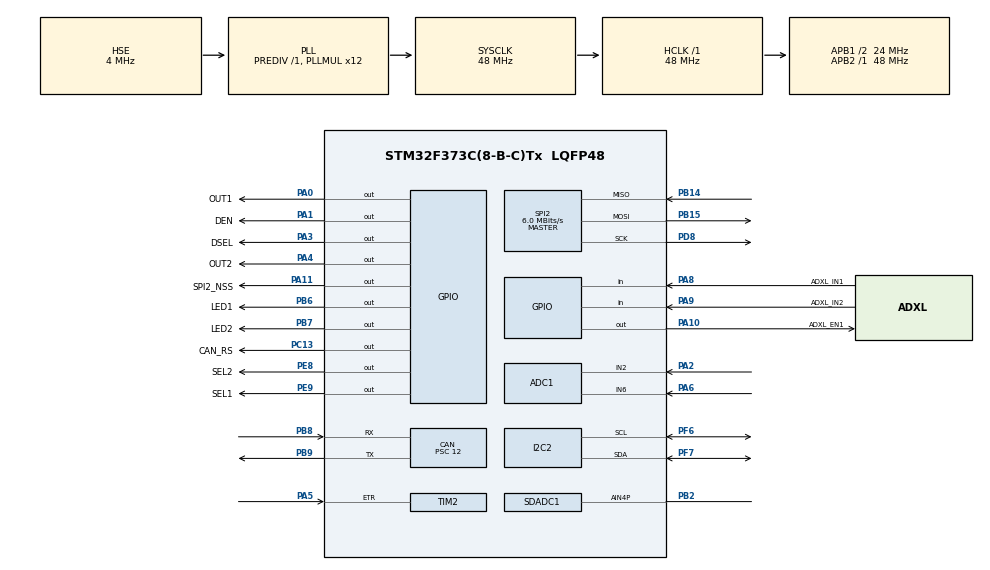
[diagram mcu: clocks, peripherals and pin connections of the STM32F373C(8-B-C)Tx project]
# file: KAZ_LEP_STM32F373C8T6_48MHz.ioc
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Mcu.Family=STM32F3
NVIC.SDADC1_IRQn=true\:0\:0\:false\:false\:true\:true\:true
PA6.Mode=IN6
RCC.CortexFreq_Value=48000000
RCC.SDADCPresc=RCC_SDADCSYSCLK_DIV8
SPI2.VirtualType=VM_MASTER
ADC1.ContinuousConvMode=ENABLE
NVIC.CAN_RX0_IRQn=true\:0\:0\:false\:true\:true\:1\:true\:true
PA0.GPIO_Label=OUT1
PB6.GPIO_Label=LED1
SDADC1.InjectedTrigger=SDADC_EXTERNAL_TRIGGER
PC13.GPIO_Label=CAN_RS
PA3.GPIO_Speed=GPIO_SPEED_FREQ_HIGH
PB15.Signal=SPI2_MOSI
RCC.SYSCLKSource=RCC_SYSCLKSOURCE_PLLCLK
ProjectManager.StackSize=0x400
SDADC1.ConfIndex-1\#ChannelRegularConversion=SDADC_CONF_INDEX_0
CAN.Prescaler=12
NVIC.ADC1_IRQn=true\:0\:0\:false\:false\:true\:true\:true
PF7.Signal=I2C2_SDA
RCC.HCLKFreq_Value=48000000
RCC.APB2TimFreq_Value=48000000
TIM3.Period=15
PB6.Signal=GPIO_Output
Dma.ADC1.0.Direction=DMA_PERIPH_TO_MEMORY
PD8.Signal=SPI2_SCK
Dma.ADC1.0.MemDataAlignment=DMA_MDATAALIGN_HALFWORD
RCC.AHBFreq_Value=48000000
SPI2.BaudRatePrescaler=SPI_BAUDRATEPRESCALER_4
ADC1.Channel-0\#ChannelRegularConversion=ADC_CHANNEL_2
RCC.HSE_VALUE=4000000
PB2.Signal=SDADC1_AIN4P
RCC.PLLMUL=RCC_PLL_MUL12
PE9.Signal=GPIO_Output
PA14.Mode=Serial_Wire
PB14.Mode=Full_Duplex_Master
TIM3.Prescaler=374
Dma.ADC1.0.PeriphInc=DMA_PINC_DISABLE
PA10.GPIO_Label=ADXL_EN1
SPI2.CalculateBaudRate=6.0 MBits/s
PB7.Signal=GPIO_Output
PA8.Signal=GPIO_Input
VP_SDADC1_CONF0.Mode=ConfigZero
CAN.CalculateTimeQuantum=500.0
ADC1.SamplingTime-0\#ChannelRegularConversion=ADC_SAMPLETIME_239CYCLES_5
PA0.Signal=GPIO_Output
PB7.GPIO_Label=LED2
Mcu.Package=LQFP48
PB9.Signal=CAN_TX
PA6.Signal=ADC1_IN6
SPI2.Mode=SPI_MODE_MASTER
PA10.Signal=GPIO_Output
SDADC1.EnableRegularconversion=DISABLE
SDADC1.Channel-1\#ChannelRegularConversion=SDADC_CHANNEL_4
RCC.APB1TimFreq_Value=48000000
SDADC1.InjectedContinuousMode=SDADC_CONTINUOUS_CONV_OFF
SPI2.Direction=SPI_DIRECTION_2LINES
SDADC1.InjNumberOfConversion=1
Dma.Request0=ADC1
PA4.GPIO_Label=OUT2
PC13.PinState=GPIO_PIN_SET
PA3.Signal=GPIO_Output
RCC.PLLSourceVirtual=RCC_PLLSOURCE_HSE
SDADC1.InputMode0=SDADC_INPUT_MODE_SE_ZERO_REFERENCE
Dma.ADC1.0.Instance=DMA1_Channel1
ADC1.Rank-0\#ChannelRegularConversion=1
PC13.Signal=GPIO_Output
PA9.GPIO_Label=ADXL_IN2
SDADC1.FastConversionMode=SDADC_FAST_CONV_DISABLE
PA11.GPIO_Label=SPI2_NSS
RCC.APB1CLKDivider=RCC_HCLK_DIV2
SDADC1.InjectedConfIndex-3\#ChannelInjectedConversion=SDADC_CONF_INDEX_0
RCC.ADCPresc=RCC_ADC1PCLK2_DIV8
PA13.Signal=SYS_JTMS-SWDIO
PF7.Mode=I2C
Dma.ADC1.0.PeriphDataAlignment=DMA_PDATAALIGN_HALFWORD
CAN.BS2=CAN_BS2_2TQ
CAN.BS1=CAN_BS1_5TQ
PA8.GPIO_Label=ADXL_IN1
PF6.Signal=I2C2_SCL
ProjectManager.TargetToolchain=STM32CubeIDE
Dma.ADC1.0.Mode=DMA_CIRCULAR
PE8.GPIO_Label=SEL2
Dma.ADC1.0.Priority=DMA_PRIORITY_LOW
PB9.Mode=Master
SDADC1.NbrOfConversionFlag=1
PA9.Signal=GPIO_Input
ADC1.Channel-1\#ChannelRegularConversion=ADC_CHANNEL_6
RCC.USBFreq_Value=48000000
SDADC1.InjectedChannelsSelection=SDADC_CHANNEL_4
RCC.LSE_VALUE=32768
PD8.Mode=Full_Duplex_Master
PE9.GPIO_Label=SEL1
PA1.Signal=GPIO_Output
TIM3.Channel-PWM\ Generation1\ No\ Output=TIM_CHANNEL_1
PF0-OSC_IN.Mode=HSE-External-Clock-Source
PB14.Signal=SPI2_MISO
PA5.Signal=S_TIM2_CH1_ETR
TIM3.Pulse-PWM\ Generation1\ No\ Output=1
board=custom
VP_TIM3_VS_no_output1.Mode=PWM Generation1 No Output
PB15.Mode=Full_Duplex_Master
NVIC.TIM3_IRQn=true\:0\:0\:false\:false\:true\:true\:true
RCC.APB2Freq_Value=48000000
SDADC1.InjectedExtTrigger=SDADC_EXT_TRIG_TIM3_CC1
PE8.Signal=GPIO_Output
PA1.GPIO_Label=DEN
ADC1.NbrOfConversion=2
PA13.Mode=Serial_Wire
Mcu.Name=STM32F373C(8-B-C)Tx
SDADC1.InjectedRank-3\#ChannelInjectedConversion=1
PA2.Signal=ADC1_IN2
PA4.Signal=GPIO_Output
ADC1.SamplingTime-1\#ChannelRegularConversion=ADC_SAMPLETIME_239CYCLES_5
RCC.SYSCLKFreq_VALUE=48000000
ADC1.master=1
SDADC1.EnableInjectedConversion=ENABLE
SDADC1.Gain0=SDADC_GAIN_1
TIM3.TIM_MasterSlaveMode=TIM_MASTERSLAVEMODE_DISABLE
PB2.Mode=IN4-Single-Ended zero reference
ADC1.Rank-1\#ChannelRegularConversion=2
PA11.Signal=GPIO_Output
SH.S_TIM2_CH1_ETR.0=TIM2_ETR,ClockSourceETR_Mode2
PA14.Signal=SYS_JTCK-SWCLK
Dma.ADC1.0.MemInc=DMA_MINC_ENABLE
ProjectManager.HeapSize=0x200
PF6.Mode=I2C
RCC.HSI_VALUE=8000000
NVIC.PriorityGroup=NVIC_PRIORITYGROUP_4
ADC1.NbrOfConversionFlag=1
PB8.Mode=Master
PA2.Mode=IN2
PB8.Signal=CAN_RX
SPI2.DataSize=SPI_DATASIZE_8BIT
NVIC.DMA1_Channel1_IRQn=true\:0\:0\:false\:false\:true\:false\:true
PF0-OSC_IN.Signal=RCC_OSC_IN
TIM3.TIM_MasterOutputTrigger=TIM_TRGO_RESET
RCC.APB1Freq_Value=24000000
SDADC1.InjectedChannel-3\#ChannelInjectedConversion=SDADC_CHANNEL_4
PA3.GPIO_Label=DSEL

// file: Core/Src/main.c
/* USER CODE BEGIN Header */
/**
  ******************************************************************************
  * @file           : main.c
  * @brief          : Main program body
  ******************************************************************************
  * @attention
  *
  * <h2><center>&copy; Copyright (c) 2020 STMicroelectronics.
  * All rights reserved.</center></h2>
  *
  * This software component is licensed by ST under BSD 3-Clause license,
  * the "License"; You may not use this file except in compliance with the
  * License. You may obtain a copy of the License at:
  *                        opensource.org/licenses/BSD-3-Clause
  *
  ******************************************************************************
  */
/* USER CODE END Header */
#include "main.h"

/* USER CODE BEGIN Includes */
#define ARM_MATH_CM4
#include <arm_math.h>

#include "filter.h"
#include "adc_data.h"
#include "can_handling.h"
#include "accelerometer.h"
/* USER CODE END Includes */

ADC_HandleTypeDef hadc1;
DMA_HandleTypeDef hdma_adc1;

CAN_HandleTypeDef hcan;

I2C_HandleTypeDef hi2c2;

SDADC_HandleTypeDef hsdadc1;

SPI_HandleTypeDef hspi2;

TIM_HandleTypeDef htim2;
TIM_HandleTypeDef htim3;

void SystemClock_Config(void);
static void MX_GPIO_Init(void);
static void MX_DMA_Init(void);
static void MX_CAN_Init(void);
static void MX_I2C2_Init(void);
static void MX_SPI2_Init(void);
static void MX_SDADC1_Init(void);
static void MX_TIM3_Init(void);
static void MX_ADC1_Init(void);
static void MX_TIM2_Init(void);
static void MX_NVIC_Init(void);

/* USER CODE BEGIN 0 */
__IO uint16_t time_LED = 0;
__IO uint8_t flag_sdadc_end = 0;
/* USER CODE END 0 */

int main(void)
{

  /* MCU Configuration--------------------------------------------------------*/

  /* Reset of all peripherals, Initializes the Flash interface and the Systick. */
  HAL_Init();

  /* Configure the system clock */
  SystemClock_Config();

  /* Initialize all configured peripherals */
  MX_GPIO_Init();
  MX_DMA_Init();
  MX_CAN_Init();
  MX_I2C2_Init();
  MX_SPI2_Init();
  MX_SDADC1_Init();
  MX_TIM3_Init();
  MX_ADC1_Init();
  MX_TIM2_Init();

  /* Initialize interrupts */
  MX_NVIC_Init();
  /* USER CODE BEGIN 2 */
  ADC_Start();
  SDADC_Start();
  CAN_j1939_Init();
  ADXL363_accelerometer();//Accelerometer
  HAL_TIM_Base_Start(&htim2); //anemometer

  LED2_GPIO_Port->BSRR |= LED2_Pin;

  CoreDebug->DEMCR |= CoreDebug_DEMCR_TRCENA_Msk; // Включаем TRACE
  DWT->CTRL |= DWT_CTRL_CYCCNTENA_Msk; // Разрешаем DWT счетчик
/*
  uint32_t test = 0;
  DWT->CYCCNT = 0;    // Обнуляем счетчик
  test = DWT->CYCCNT; // Читаем счетчик
*/
  /* USER CODE END 2 */

  /* Infinite loop */
  /* USER CODE BEGIN WHILE */
  while (1)
  {
    if(flag_sdadc_end) {
      filter_FFT();
      flag_sdadc_end = 0;
    }
    anemometer();
    ADC_average();
    getData_accelerometer();
    CAN_j1939_Receive();

    CAN_j1939_Transmit();
    /* USER CODE END WHILE */

  }
}

void SystemClock_Config(void)
{
  RCC_OscInitTypeDef RCC_OscInitStruct = {0};
  RCC_ClkInitTypeDef RCC_ClkInitStruct = {0};
  RCC_PeriphCLKInitTypeDef PeriphClkInit = {0};

  /** Initializes the RCC Oscillators according to the specified parameters
  * in the RCC_OscInitTypeDef structure.
  */
  RCC_OscInitStruct.OscillatorType = RCC_OSCILLATORTYPE_HSI|RCC_OSCILLATORTYPE_HSE;
  RCC_OscInitStruct.HSEState = RCC_HSE_BYPASS;
  RCC_OscInitStruct.HSEPredivValue = RCC_HSE_PREDIV_DIV1;
  RCC_OscInitStruct.HSIState = RCC_HSI_ON;
  RCC_OscInitStruct.HSICalibrationValue = RCC_HSICALIBRATION_DEFAULT;
  RCC_OscInitStruct.PLL.PLLState = RCC_PLL_ON;
  RCC_OscInitStruct.PLL.PLLSource = RCC_PLLSOURCE_HSE;
  RCC_OscInitStruct.PLL.PLLMUL = RCC_PLL_MUL12;
  if (HAL_RCC_OscConfig(&RCC_OscInitStruct) != HAL_OK)
  {
    Error_Handler();
  }
  /** Initializes the CPU, AHB and APB buses clocks
  */
  RCC_ClkInitStruct.ClockType = RCC_CLOCKTYPE_HCLK|RCC_CLOCKTYPE_SYSCLK
                              |RCC_CLOCKTYPE_PCLK1|RCC_CLOCKTYPE_PCLK2;
  RCC_ClkInitStruct.SYSCLKSource = RCC_SYSCLKSOURCE_PLLCLK;
  RCC_ClkInitStruct.AHBCLKDivider = RCC_SYSCLK_DIV1;
  RCC_ClkInitStruct.APB1CLKDivider = RCC_HCLK_DIV2;
  RCC_ClkInitStruct.APB2CLKDivider = RCC_HCLK_DIV1;

  if (HAL_RCC_ClockConfig(&RCC_ClkInitStruct, FLASH_LATENCY_1) != HAL_OK)
  {
    Error_Handler();
  }
  PeriphClkInit.PeriphClockSelection = RCC_PERIPHCLK_I2C2|RCC_PERIPHCLK_ADC1
                              |RCC_PERIPHCLK_SDADC;
  PeriphClkInit.I2c2ClockSelection = RCC_I2C2CLKSOURCE_HSI;
  PeriphClkInit.SdadcClockSelection = RCC_SDADCSYSCLK_DIV8;
  PeriphClkInit.Adc1ClockSelection = RCC_ADC1PCLK2_DIV8;

  if (HAL_RCCEx_PeriphCLKConfig(&PeriphClkInit) != HAL_OK)
  {
    Error_Handler();
  }
  HAL_PWREx_EnableSDADC(PWR_SDADC_ANALOG1);
}

/**
  * @brief NVIC Configuration.
  * @retval None
  */
static void MX_NVIC_Init(void)
{
  /* CAN_RX0_IRQn interrupt configuration */
  HAL_NVIC_SetPriority(CAN_RX0_IRQn, 0, 0);
  HAL_NVIC_EnableIRQ(CAN_RX0_IRQn);
}

static void MX_ADC1_Init(void)
{

  ADC_ChannelConfTypeDef sConfig = {0};

  /** Common config
  */
  hadc1.Instance = ADC1;
  hadc1.Init.ScanConvMode = ADC_SCAN_ENABLE;
  hadc1.Init.ContinuousConvMode = ENABLE;
  hadc1.Init.DiscontinuousConvMode = DISABLE;
  hadc1.Init.ExternalTrigConv = ADC_SOFTWARE_START;
  hadc1.Init.DataAlign = ADC_DATAALIGN_RIGHT;
  hadc1.Init.NbrOfConversion = 2;
  if (HAL_ADC_Init(&hadc1) != HAL_OK)
  {
    Error_Handler();
  }
  /** Configure Regular Channel
  */
  sConfig.Channel = ADC_CHANNEL_2;
  sConfig.Rank = ADC_REGULAR_RANK_1;
  sConfig.SamplingTime = ADC_SAMPLETIME_239CYCLES_5;
  if (HAL_ADC_ConfigChannel(&hadc1, &sConfig) != HAL_OK)
  {
    Error_Handler();
  }
  /** Configure Regular Channel
  */
  sConfig.Channel = ADC_CHANNEL_6;
  sConfig.Rank = ADC_REGULAR_RANK_2;
  if (HAL_ADC_ConfigChannel(&hadc1, &sConfig) != HAL_OK)
  {
    Error_Handler();
  }

}

static void MX_CAN_Init(void)
{

  hcan.Instance = CAN;
  hcan.Init.Prescaler = 12;
  hcan.Init.Mode = CAN_MODE_NORMAL;
  hcan.Init.SyncJumpWidth = CAN_SJW_1TQ;
  hcan.Init.TimeSeg1 = CAN_BS1_5TQ;
  hcan.Init.TimeSeg2 = CAN_BS2_2TQ;
  hcan.Init.TimeTriggeredMode = DISABLE;
  hcan.Init.AutoBusOff = DISABLE;
  hcan.Init.AutoWakeUp = DISABLE;
  hcan.Init.AutoRetransmission = DISABLE;
  hcan.Init.ReceiveFifoLocked = DISABLE;
  hcan.Init.TransmitFifoPriority = DISABLE;
  if (HAL_CAN_Init(&hcan) != HAL_OK)
  {
    Error_Handler();
  }

}

static void MX_I2C2_Init(void)
{

  hi2c2.Instance = I2C2;
  hi2c2.Init.Timing = 0x2000090E;
  hi2c2.Init.OwnAddress1 = 0;
  hi2c2.Init.AddressingMode = I2C_ADDRESSINGMODE_7BIT;
  hi2c2.Init.DualAddressMode = I2C_DUALADDRESS_DISABLE;
  hi2c2.Init.OwnAddress2 = 0;
  hi2c2.Init.OwnAddress2Masks = I2C_OA2_NOMASK;
  hi2c2.Init.GeneralCallMode = I2C_GENERALCALL_DISABLE;
  hi2c2.Init.NoStretchMode = I2C_NOSTRETCH_DISABLE;
  if (HAL_I2C_Init(&hi2c2) != HAL_OK)
  {
    Error_Handler();
  }
  /** Configure Analogue filter
  */
  if (HAL_I2CEx_ConfigAnalogFilter(&hi2c2, I2C_ANALOGFILTER_ENABLE) != HAL_OK)
  {
    Error_Handler();
  }
  /** Configure Digital filter
  */
  if (HAL_I2CEx_ConfigDigitalFilter(&hi2c2, 0) != HAL_OK)
  {
    Error_Handler();
  }

}

static void MX_SDADC1_Init(void)
{

  SDADC_ConfParamTypeDef ConfParamStruct = {0};

  /** Configure the SDADC low power mode, fast conversion mode,
  slow clock mode and SDADC1 reference voltage
  */
  hsdadc1.Instance = SDADC1;
  hsdadc1.Init.IdleLowPowerMode = SDADC_LOWPOWER_NONE;
  hsdadc1.Init.FastConversionMode = SDADC_FAST_CONV_DISABLE;
  hsdadc1.Init.SlowClockMode = SDADC_SLOW_CLOCK_DISABLE;
  hsdadc1.Init.ReferenceVoltage = SDADC_VREF_EXT;
  hsdadc1.InjectedTrigger = SDADC_EXTERNAL_TRIGGER;
  hsdadc1.ExtTriggerEdge = SDADC_EXT_TRIG_RISING_EDGE;
  if (HAL_SDADC_Init(&hsdadc1) != HAL_OK)
  {
    Error_Handler();
  }
  /** Configure the Injected Mode
  */
  if (HAL_SDADC_SelectInjectedDelay(&hsdadc1, SDADC_INJECTED_DELAY_NONE) != HAL_OK)
  {
    Error_Handler();
  }
  if (HAL_SDADC_SelectInjectedExtTrigger(&hsdadc1, SDADC_EXT_TRIG_TIM3_CC1, SDADC_EXT_TRIG_RISING_EDGE) != HAL_OK)
  {
    Error_Handler();
  }
  if (HAL_SDADC_SelectInjectedTrigger(&hsdadc1, SDADC_EXTERNAL_TRIGGER) != HAL_OK)
  {
    Error_Handler();
  }
  if (HAL_SDADC_InjectedConfigChannel(&hsdadc1, SDADC_CHANNEL_4, SDADC_CONTINUOUS_CONV_OFF) != HAL_OK)
  {
    Error_Handler();
  }
  /** Set parameters for SDADC configuration 0 Register
  */
  ConfParamStruct.InputMode = SDADC_INPUT_MODE_SE_ZERO_REFERENCE;
  ConfParamStruct.Gain = SDADC_GAIN_1;
  ConfParamStruct.CommonMode = SDADC_COMMON_MODE_VSSA;
  ConfParamStruct.Offset = 0;
  if (HAL_SDADC_PrepareChannelConfig(&hsdadc1, SDADC_CONF_INDEX_0, &ConfParamStruct) != HAL_OK)
  {
    Error_Handler();
  }
  /** Configure the Regular Channel
  */
  if (HAL_SDADC_AssociateChannelConfig(&hsdadc1, SDADC_CHANNEL_4, SDADC_CONF_INDEX_0) != HAL_OK)
  {
    Error_Handler();
  }

}

static void MX_SPI2_Init(void)
{

  /* SPI2 parameter configuration*/
  hspi2.Instance = SPI2;
  hspi2.Init.Mode = SPI_MODE_MASTER;
  hspi2.Init.Direction = SPI_DIRECTION_2LINES;
  hspi2.Init.DataSize = SPI_DATASIZE_8BIT;
  hspi2.Init.CLKPolarity = SPI_POLARITY_LOW;
  hspi2.Init.CLKPhase = SPI_PHASE_1EDGE;
  hspi2.Init.NSS = SPI_NSS_SOFT;
  hspi2.Init.BaudRatePrescaler = SPI_BAUDRATEPRESCALER_4;
  hspi2.Init.FirstBit = SPI_FIRSTBIT_MSB;
  hspi2.Init.TIMode = SPI_TIMODE_DISABLE;
  hspi2.Init.CRCCalculation = SPI_CRCCALCULATION_DISABLE;
  hspi2.Init.CRCPolynomial = 7;
  hspi2.Init.CRCLength = SPI_CRC_LENGTH_DATASIZE;
  hspi2.Init.NSSPMode = SPI_NSS_PULSE_ENABLE;
  if (HAL_SPI_Init(&hspi2) != HAL_OK)
  {
    Error_Handler();
  }

}

static void MX_TIM2_Init(void)
{

  TIM_ClockConfigTypeDef sClockSourceConfig = {0};
  TIM_MasterConfigTypeDef sMasterConfig = {0};

  htim2.Instance = TIM2;
  htim2.Init.Prescaler = 0;
  htim2.Init.CounterMode = TIM_COUNTERMODE_UP;
  htim2.Init.Period = 4294967295;
  htim2.Init.ClockDivision = TIM_CLOCKDIVISION_DIV1;
  htim2.Init.AutoReloadPreload = TIM_AUTORELOAD_PRELOAD_DISABLE;
  if (HAL_TIM_Base_Init(&htim2) != HAL_OK)
  {
    Error_Handler();
  }
  sClockSourceConfig.ClockSource = TIM_CLOCKSOURCE_ETRMODE2;
  sClockSourceConfig.ClockPolarity = TIM_CLOCKPOLARITY_NONINVERTED;
  sClockSourceConfig.ClockPrescaler = TIM_CLOCKPRESCALER_DIV1;
  sClockSourceConfig.ClockFilter = 0;
  if (HAL_TIM_ConfigClockSource(&htim2, &sClockSourceConfig) != HAL_OK)
  {
    Error_Handler();
  }
  sMasterConfig.MasterOutputTrigger = TIM_TRGO_RESET;
  sMasterConfig.MasterSlaveMode = TIM_MASTERSLAVEMODE_DISABLE;
  if (HAL_TIMEx_MasterConfigSynchronization(&htim2, &sMasterConfig) != HAL_OK)
  {
    Error_Handler();
  }

}

static void MX_TIM3_Init(void)
{

  /* USER CODE BEGIN TIM3_Init 0 */
  //48MHz / (749 + 1) / (7 + 1) = 8kHz
  /* USER CODE END TIM3_Init 0 */

  TIM_MasterConfigTypeDef sMasterConfig = {0};
  TIM_OC_InitTypeDef sConfigOC = {0};

  htim3.Instance = TIM3;
  htim3.Init.Prescaler = 374;
  htim3.Init.CounterMode = TIM_COUNTERMODE_UP;
  htim3.Init.Period = 15;
  htim3.Init.ClockDivision = TIM_CLOCKDIVISION_DIV1;
  htim3.Init.AutoReloadPreload = TIM_AUTORELOAD_PRELOAD_DISABLE;
  if (HAL_TIM_PWM_Init(&htim3) != HAL_OK)
  {
    Error_Handler();
  }
  sMasterConfig.MasterOutputTrigger = TIM_TRGO_RESET;
  sMasterConfig.MasterSlaveMode = TIM_MASTERSLAVEMODE_DISABLE;
  if (HAL_TIMEx_MasterConfigSynchronization(&htim3, &sMasterConfig) != HAL_OK)
  {
    Error_Handler();
  }
  sConfigOC.OCMode = TIM_OCMODE_PWM1;
  sConfigOC.Pulse = 1;
  sConfigOC.OCPolarity = TIM_OCPOLARITY_HIGH;
  sConfigOC.OCFastMode = TIM_OCFAST_DISABLE;
  if (HAL_TIM_PWM_ConfigChannel(&htim3, &sConfigOC, TIM_CHANNEL_1) != HAL_OK)
  {
    Error_Handler();
  }

}

static void MX_DMA_Init(void)
{

  /* DMA controller clock enable */
  __HAL_RCC_DMA1_CLK_ENABLE();

  /* DMA interrupt init */
  /* DMA1_Channel1_IRQn interrupt configuration */
  HAL_NVIC_SetPriority(DMA1_Channel1_IRQn, 0, 0);
  HAL_NVIC_EnableIRQ(DMA1_Channel1_IRQn);

}

static void MX_GPIO_Init(void)
{
  GPIO_InitTypeDef GPIO_InitStruct = {0};

  /* GPIO Ports Clock Enable */
  __HAL_RCC_GPIOC_CLK_ENABLE();
  __HAL_RCC_GPIOF_CLK_ENABLE();
  __HAL_RCC_GPIOA_CLK_ENABLE();
  __HAL_RCC_GPIOB_CLK_ENABLE();
  __HAL_RCC_GPIOE_CLK_ENABLE();
  __HAL_RCC_GPIOD_CLK_ENABLE();

  /*Configure GPIO pin Output Level */
  HAL_GPIO_WritePin(CAN_RS_GPIO_Port, CAN_RS_Pin, GPIO_PIN_SET);

  /*Configure GPIO pin Output Level */
  HAL_GPIO_WritePin(GPIOA, OUT1_Pin|DEN_Pin|DSEL_Pin|OUT2_Pin
                          |ADXL_EN1_Pin|SPI2_NSS_Pin, GPIO_PIN_RESET);

  /*Configure GPIO pin Output Level */
  HAL_GPIO_WritePin(GPIOE, SEL2_Pin|SEL1_Pin, GPIO_PIN_RESET);

  /*Configure GPIO pin Output Level */
  HAL_GPIO_WritePin(GPIOB, LED1_Pin|LED2_Pin, GPIO_PIN_RESET);

  /*Configure GPIO pin : CAN_RS_Pin */
  GPIO_InitStruct.Pin = CAN_RS_Pin;
  GPIO_InitStruct.Mode = GPIO_MODE_OUTPUT_PP;
  GPIO_InitStruct.Pull = GPIO_NOPULL;
  GPIO_InitStruct.Speed = GPIO_SPEED_FREQ_LOW;
  HAL_GPIO_Init(CAN_RS_GPIO_Port, &GPIO_InitStruct);

  /*Configure GPIO pins : OUT1_Pin DEN_Pin OUT2_Pin ADXL_EN1_Pin
                           SPI2_NSS_Pin */
  GPIO_InitStruct.Pin = OUT1_Pin|DEN_Pin|OUT2_Pin|ADXL_EN1_Pin
                          |SPI2_NSS_Pin;
  GPIO_InitStruct.Mode = GPIO_MODE_OUTPUT_PP;
  GPIO_InitStruct.Pull = GPIO_NOPULL;
  GPIO_InitStruct.Speed = GPIO_SPEED_FREQ_LOW;
  HAL_GPIO_Init(GPIOA, &GPIO_InitStruct);

  /*Configure GPIO pin : DSEL_Pin */
  GPIO_InitStruct.Pin = DSEL_Pin;
  GPIO_InitStruct.Mode = GPIO_MODE_OUTPUT_PP;
  GPIO_InitStruct.Pull = GPIO_NOPULL;
  GPIO_InitStruct.Speed = GPIO_SPEED_FREQ_HIGH;
  HAL_GPIO_Init(DSEL_GPIO_Port, &GPIO_InitStruct);

  /*Configure GPIO pins : SEL2_Pin SEL1_Pin */
  GPIO_InitStruct.Pin = SEL2_Pin|SEL1_Pin;
  GPIO_InitStruct.Mode = GPIO_MODE_OUTPUT_PP;
  GPIO_InitStruct.Pull = GPIO_NOPULL;
  GPIO_InitStruct.Speed = GPIO_SPEED_FREQ_LOW;
  HAL_GPIO_Init(GPIOE, &GPIO_InitStruct);

  /*Configure GPIO pins : ADXL_IN1_Pin ADXL_IN2_Pin */
  GPIO_InitStruct.Pin = ADXL_IN1_Pin|ADXL_IN2_Pin;
  GPIO_InitStruct.Mode = GPIO_MODE_INPUT;
  GPIO_InitStruct.Pull = GPIO_NOPULL;
  HAL_GPIO_Init(GPIOA, &GPIO_InitStruct);

  /*Configure GPIO pins : LED1_Pin LED2_Pin */
  GPIO_InitStruct.Pin = LED1_Pin|LED2_Pin;
  GPIO_InitStruct.Mode = GPIO_MODE_OUTPUT_PP;
  GPIO_InitStruct.Pull = GPIO_NOPULL;
  GPIO_InitStruct.Speed = GPIO_SPEED_FREQ_LOW;
  HAL_GPIO_Init(GPIOB, &GPIO_InitStruct);

}

void Error_Handler(void)
{
}

/************************ (C) COPYRIGHT STMicroelectronics *****END OF FILE****/
